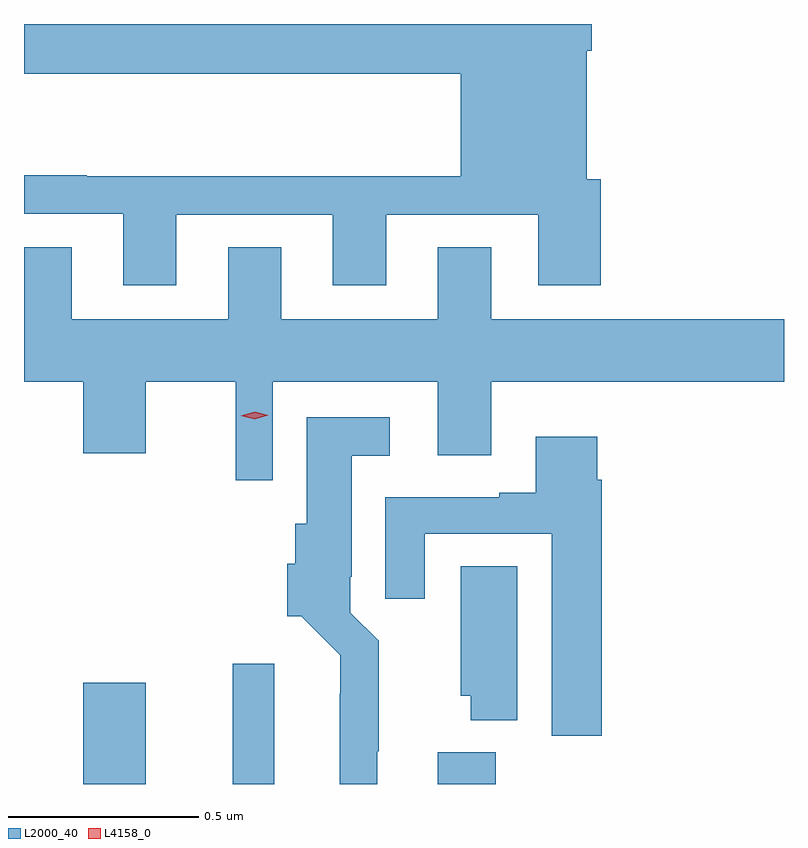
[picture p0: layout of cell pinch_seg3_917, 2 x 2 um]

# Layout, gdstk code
import gdstk
lib = gdstk.Library(unit=1e-6, precision=1e-09)
def R(c, l, rs):  # rectangles x0, y0, x1, y1
    for r in rs: c.add(gdstk.rectangle(r[:2], r[2:], *l))
def P(c, l, *ps):  # polygons
    for p in ps: c.add(gdstk.Polygon(p, *l))
L2000_40 = (2000, 40)
L4158_0 = (4158, 0)

pinch_seg3_917 = lib.new_cell('pinch_seg3_917')
R(pinch_seg3_917, L2000_40, [(788.384,695.861,788.548,696.127), (788.777,695.861,788.887,696.178), (789.317,695.861,789.47,695.944)])
P(pinch_seg3_917, L2000_40, [(788.629,697.359),(789.041,697.359),(789.041,697.173),(789.181,697.173),(789.181,697.359),(789.581,697.359),(789.581,697.173),(789.746,697.173),(789.746,697.452),(789.709,697.452),(789.709,697.79),(789.722,697.79),(789.722,697.861),(788.228,697.861),(788.228,697.73),(789.377,697.73),(789.377,697.46),(788.393,697.46),(788.393,697.463),(788.228,697.463),(788.228,697.362),(788.489,697.362),(788.489,697.173),(788.629,697.173)],
  [(788.883,696.92),(789.317,696.92),(789.317,696.726),(789.457,696.726),(789.457,696.92),(790.228,696.92),(790.228,697.084),(789.457,697.084),(789.457,697.274),(789.317,697.274),(789.317,697.084),(788.905,697.084),(788.905,697.274),(788.765,697.274),(788.765,697.084),(788.353,697.084),(788.353,697.274),(788.228,697.274),(788.228,696.92),(788.384,696.92),(788.384,696.732),(788.548,696.732),(788.548,696.92),(788.785,696.92),(788.785,696.66),(788.883,696.66)],
  [(789.157,695.947),(789.161,695.947),(789.161,696.238),(789.087,696.312),(789.087,696.406),(789.091,696.406),(789.091,696.725),(789.19,696.725),(789.19,696.826),(788.972,696.826),(788.972,696.546),(788.942,696.546),(788.942,696.441),(788.921,696.441),(788.921,696.302),(788.958,696.302),(789.06,696.2),(789.06,696.098),(789.059,696.098),(789.059,695.861),(789.157,695.861)],
  [(789.749,696.662),(789.736,696.662),(789.736,696.775),(789.575,696.775),(789.575,696.628),(789.479,696.628),(789.479,696.615),(789.179,696.615),(789.179,696.348),(789.283,696.348),(789.283,696.519),(789.617,696.519),(789.617,695.988),(789.749,695.988)],
  [(789.526,696.434),(789.377,696.434),(789.377,696.093),(789.404,696.093),(789.404,696.029),(789.526,696.029)])
P(pinch_seg3_917, L4158_0, [(788.835,696.821),(788.799,696.83),(788.799,696.83),(788.799,696.83),(788.835,696.841),(788.871,696.832),(788.871,696.832),(788.871,696.831)])

lib.write_gds('pinch_seg3_917.gds')
